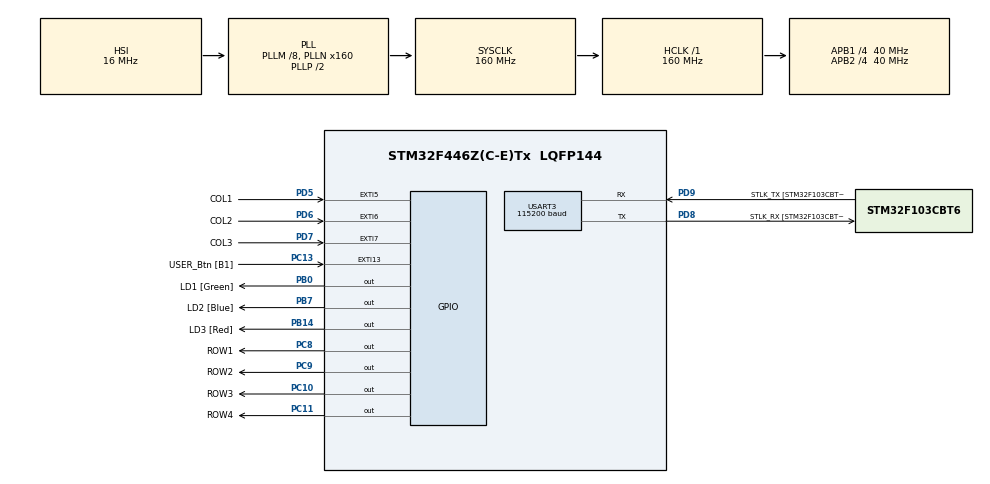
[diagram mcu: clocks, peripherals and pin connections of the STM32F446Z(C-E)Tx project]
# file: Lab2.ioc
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Mcu.Family=STM32F4
Mcu.Name=STM32F446Z(C-E)Tx
Mcu.Package=LQFP144
NVIC.EXTI15_10_IRQn=true\:0\:0\:false\:false\:true\:true\:true\:true
NVIC.EXTI9_5_IRQn=true\:0\:0\:false\:false\:true\:true\:true\:true
NVIC.PriorityGroup=NVIC_PRIORITYGROUP_4
PB0.GPIO_Label=LD1 [Green]
PB0.Signal=GPIO_Output
PB14.GPIO_Label=LD3 [Red]
PB14.Signal=GPIO_Output
PB7.GPIO_Label=LD2 [Blue]
PB7.Signal=GPIO_Output
PC10.GPIO_Label=ROW3
PC10.Signal=GPIO_Output
PC11.GPIO_Label=ROW4
PC11.Signal=GPIO_Output
PC13.GPIO_Label=USER_Btn [B1]
PC13.GPIO_ModeDefaultEXTI=GPIO_MODE_IT_RISING
PC13.Signal=GPXTI13
PC8.GPIO_Label=ROW1
PC8.Signal=GPIO_Output
PC9.GPIO_Label=ROW2
PC9.Signal=GPIO_Output
PD5.GPIO_Label=COL1
PD5.GPIO_PuPd=GPIO_PULLDOWN
PD5.Signal=GPXTI5
PD6.GPIO_Label=COL2
PD6.GPIO_PuPd=GPIO_PULLDOWN
PD6.Signal=GPXTI6
PD7.GPIO_Label=COL3
PD7.GPIO_PuPd=GPIO_PULLDOWN
PD7.Signal=GPXTI7
PD8.GPIO_Label=STLK_RX [STM32F103CBT6_PA3]
PD8.Mode=Asynchronous
PD8.Signal=USART3_TX
PD9.GPIO_Label=STLK_TX [STM32F103CBT6_PA2]
PD9.Mode=Asynchronous
PD9.Signal=USART3_RX
ProjectManager.HeapSize=0x200
ProjectManager.StackSize=0x400
ProjectManager.TargetToolchain=STM32CubeIDE
RCC.48MHZClocksFreq_Value=24000000
RCC.AHBFreq_Value=160000000
RCC.APB1CLKDivider=RCC_HCLK_DIV4
RCC.APB1Freq_Value=40000000
RCC.APB1TimFreq_Value=80000000
RCC.APB2CLKDivider=RCC_HCLK_DIV4
RCC.APB2Freq_Value=40000000
RCC.APB2TimFreq_Value=80000000
RCC.CortexFreq_Value=160000000
RCC.HCLKFreq_Value=160000000
RCC.HSE_VALUE=8000000
RCC.HSI_VALUE=16000000
RCC.PLLM=8
RCC.PLLMUL=RCC_PLL_MUL9
RCC.PLLN=160
RCC.PLLQ=7
RCC.PRESCALERUSB=RCC_USBCLKSOURCE_PLL_DIV1_5
RCC.SYSCLKFreq_VALUE=160000000
RCC.SYSCLKSource=RCC_SYSCLKSOURCE_PLLCLK
RCC.SYSCLKSourceVirtual=RCC_SYSCLKSOURCE_PLLCLK
RCC.USBFreq_Value=45714285.71428572
RCC.VCOOutputFreq_Value=320000000
USART3.BaudRate=115200
USART3.VirtualMode=VM_ASYNC
board=NUCLEO-F446ZE

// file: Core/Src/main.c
// main.c - Complete file

/* USER CODE BEGIN Header */
/**
  ******************************************************************************
  * @file           : main.c
  * @brief          : Main program body
  ******************************************************************************
  * @attention
  *
  * Copyright (c) 2026 STMicroelectronics.
  * All rights reserved.
  *
  * This software is licensed under terms that can be found in the LICENSE file
  * in the root directory of this software component.
  * If no LICENSE file comes with this software, it is provided AS-IS.
  *
  ******************************************************************************
  */
/* USER CODE END Header */
#include "main.h"

/* USER CODE BEGIN Includes */
#include <stdio.h>
#include <string.h>
/* USER CODE END Includes */

/* USER CODE BEGIN PD */

#define ROW_Port GPIOC

/* Row Pins Already Defined in main.h
#define ROW1_Pin GPIO_PIN_8
#define ROW2_Pin GPIO_PIN_9
#define ROW3_Pin GPIO_PIN_10
#define ROW4_Pin GPIO_PIN_11
*/

#define COL_Port GPIOD

/* Column Pins Already Defined in main.h
#define COL1_Pin GPIO_PIN_5
#define COL2_Pin GPIO_PIN_6
#define COL3_Pin GPIO_PIN_7
*/

/* USER CODE END PD */

UART_HandleTypeDef huart3;

void SystemClock_Config(void);
static void MX_GPIO_Init(void);
static void MX_USART3_UART_Init(void);

/* USER CODE BEGIN 0 */
void print_msg(char * msg) {
	HAL_UART_Transmit(&huart3, (uint8_t *)msg, strlen(msg), 100);
}

int8_t current_row = -1, current_col = -1;
char keypad[4][3] = {
    {'1','2','3'},
    {'4','5','6'},
    {'7','8','9'},
    {'*','0','#'}
};

// Separate variable for each column - set by interrupts
volatile uint8_t col[3] = {0, 0, 0};

// Previous state for edge detection
uint8_t prev_col[3] = {0, 0, 0};

/* USER CODE END 0 */

int main(void)
{

  /* MCU Configuration--------------------------------------------------------*/

  /* Reset of all peripherals, Initializes the Flash interface and the Systick. */
  HAL_Init();

  /* Configure the system clock */
  SystemClock_Config();

  /* Initialize all configured peripherals */
  MX_GPIO_Init();
  MX_USART3_UART_Init();
  /* USER CODE BEGIN 2 */
  HAL_GPIO_WritePin(ROW_Port, ROW1_Pin, GPIO_PIN_RESET);
  HAL_GPIO_WritePin(ROW_Port, ROW2_Pin, GPIO_PIN_RESET);
  HAL_GPIO_WritePin(ROW_Port, ROW3_Pin, GPIO_PIN_RESET);
  HAL_GPIO_WritePin(ROW_Port, ROW4_Pin, GPIO_PIN_RESET);
  /* USER CODE END 2 */

  /* Infinite loop */
  /* USER CODE BEGIN WHILE */

  // var for debouncing
  volatile uint8_t key_pressed = 0;

  while (1)
  {
	  // polls each row
	  for(int i = 0; i < 4; i++){
		  current_row = i;

		  // Set current row HIGH
		  switch(i){
		  case 0: HAL_GPIO_WritePin(ROW_Port, ROW1_Pin, GPIO_PIN_SET); break;
		  case 1: HAL_GPIO_WritePin(ROW_Port, ROW2_Pin, GPIO_PIN_SET); break;
		  case 2: HAL_GPIO_WritePin(ROW_Port, ROW3_Pin, GPIO_PIN_SET); break;
		  case 3: HAL_GPIO_WritePin(ROW_Port, ROW4_Pin, GPIO_PIN_SET); break;
		  }

		  // delay for high to saturate
		  HAL_Delay(10);

		  // Check each column variable for new key press (rising edge)
		  for(int j = 0; j < 3; j++){
			  // Check if this column just became active (rising edge detection)
			  if(col[j] && !prev_col[j]){
				  // New key press detected - this overwrites any held key
				  current_col = j;
			  }
			  // Update previous state
			  prev_col[j] = col[j];
		  }

		  // doesnt print if the key is debouncing, and saves stuff in buffer to debounce
		  if(current_col != -1 && !key_pressed){
			  char buffer[20];
		      sprintf(buffer, "Key: %c\n", keypad[current_row][current_col]);
		      print_msg(buffer);
		      key_pressed = 1;
		      HAL_Delay(200);
		      current_col = -1;
		   }

		  // resets the key for the debouncing - check if all columns are released
		   if(col[0] == 0 && col[1] == 0 && col[2] == 0) {
		       key_pressed = 0;
		   }

		   // we reset the pin that was set high
	       HAL_GPIO_WritePin(ROW_Port, ROW1_Pin, GPIO_PIN_RESET);
		   HAL_GPIO_WritePin(ROW_Port, ROW2_Pin, GPIO_PIN_RESET);
		   HAL_GPIO_WritePin(ROW_Port, ROW3_Pin, GPIO_PIN_RESET);
		   HAL_GPIO_WritePin(ROW_Port, ROW4_Pin, GPIO_PIN_RESET);

		   // Reset column flags after row goes low
		   col[0] = 0;
		   col[1] = 0;
		   col[2] = 0;
	  }
    /* USER CODE END WHILE */

  }
}

void SystemClock_Config(void)
{
  RCC_OscInitTypeDef RCC_OscInitStruct = {0};
  RCC_ClkInitTypeDef RCC_ClkInitStruct = {0};

  /** Configure the main internal regulator output voltage
  */
  __HAL_RCC_PWR_CLK_ENABLE();
  __HAL_PWR_VOLTAGESCALING_CONFIG(PWR_REGULATOR_VOLTAGE_SCALE1);

  /** Initializes the RCC Oscillators according to the specified parameters
  * in the RCC_OscInitTypeDef structure.
  */
  RCC_OscInitStruct.OscillatorType = RCC_OSCILLATORTYPE_HSI;
  RCC_OscInitStruct.HSIState = RCC_HSI_ON;
  RCC_OscInitStruct.HSICalibrationValue = RCC_HSICALIBRATION_DEFAULT;
  RCC_OscInitStruct.PLL.PLLState = RCC_PLL_ON;
  RCC_OscInitStruct.PLL.PLLSource = RCC_PLLSOURCE_HSI;
  RCC_OscInitStruct.PLL.PLLM = 8;
  RCC_OscInitStruct.PLL.PLLN = 160;
  RCC_OscInitStruct.PLL.PLLP = RCC_PLLP_DIV2;
  RCC_OscInitStruct.PLL.PLLQ = 7;
  RCC_OscInitStruct.PLL.PLLR = 2;
  if (HAL_RCC_OscConfig(&RCC_OscInitStruct) != HAL_OK)
  {
    Error_Handler();
  }

  /** Initializes the CPU, AHB and APB buses clocks
  */
  RCC_ClkInitStruct.ClockType = RCC_CLOCKTYPE_HCLK|RCC_CLOCKTYPE_SYSCLK
                              |RCC_CLOCKTYPE_PCLK1|RCC_CLOCKTYPE_PCLK2;
  RCC_ClkInitStruct.SYSCLKSource = RCC_SYSCLKSOURCE_PLLCLK;
  RCC_ClkInitStruct.AHBCLKDivider = RCC_SYSCLK_DIV1;
  RCC_ClkInitStruct.APB1CLKDivider = RCC_HCLK_DIV4;
  RCC_ClkInitStruct.APB2CLKDivider = RCC_HCLK_DIV4;

  if (HAL_RCC_ClockConfig(&RCC_ClkInitStruct, FLASH_LATENCY_5) != HAL_OK)
  {
    Error_Handler();
  }
}

static void MX_USART3_UART_Init(void)
{

  huart3.Instance = USART3;
  huart3.Init.BaudRate = 115200;
  huart3.Init.WordLength = UART_WORDLENGTH_8B;
  huart3.Init.StopBits = UART_STOPBITS_1;
  huart3.Init.Parity = UART_PARITY_NONE;
  huart3.Init.Mode = UART_MODE_TX_RX;
  huart3.Init.HwFlowCtl = UART_HWCONTROL_NONE;
  huart3.Init.OverSampling = UART_OVERSAMPLING_16;
  if (HAL_UART_Init(&huart3) != HAL_OK)
  {
    Error_Handler();
  }

}

static void MX_GPIO_Init(void)
{
  GPIO_InitTypeDef GPIO_InitStruct = {0};

  /* GPIO Ports Clock Enable */
  __HAL_RCC_GPIOC_CLK_ENABLE();
  __HAL_RCC_GPIOB_CLK_ENABLE();
  __HAL_RCC_GPIOD_CLK_ENABLE();

  /*Configure GPIO pin Output Level */
  HAL_GPIO_WritePin(GPIOB, LD1_Pin|LD3_Pin|LD2_Pin, GPIO_PIN_RESET);

  /*Configure GPIO pin Output Level */
  HAL_GPIO_WritePin(GPIOC, ROW1_Pin|ROW2_Pin|ROW3_Pin|ROW4_Pin, GPIO_PIN_RESET);

  /*Configure GPIO pin : USER_Btn_Pin */
  GPIO_InitStruct.Pin = USER_Btn_Pin;
  GPIO_InitStruct.Mode = GPIO_MODE_IT_RISING;
  GPIO_InitStruct.Pull = GPIO_NOPULL;
  HAL_GPIO_Init(USER_Btn_GPIO_Port, &GPIO_InitStruct);

  /*Configure GPIO pins : LD1_Pin LD3_Pin LD2_Pin */
  GPIO_InitStruct.Pin = LD1_Pin|LD3_Pin|LD2_Pin;
  GPIO_InitStruct.Mode = GPIO_MODE_OUTPUT_PP;
  GPIO_InitStruct.Pull = GPIO_NOPULL;
  GPIO_InitStruct.Speed = GPIO_SPEED_FREQ_LOW;
  HAL_GPIO_Init(GPIOB, &GPIO_InitStruct);

  /*Configure GPIO pins : ROW1_Pin ROW2_Pin ROW3_Pin ROW4_Pin */
  GPIO_InitStruct.Pin = ROW1_Pin|ROW2_Pin|ROW3_Pin|ROW4_Pin;
  GPIO_InitStruct.Mode = GPIO_MODE_OUTPUT_PP;
  GPIO_InitStruct.Pull = GPIO_NOPULL;
  GPIO_InitStruct.Speed = GPIO_SPEED_FREQ_LOW;
  HAL_GPIO_Init(GPIOC, &GPIO_InitStruct);

  /*Configure GPIO pins : COL1_Pin COL2_Pin COL3_Pin */
  GPIO_InitStruct.Pin = COL1_Pin|COL2_Pin|COL3_Pin;
  GPIO_InitStruct.Mode = GPIO_MODE_IT_RISING;
  GPIO_InitStruct.Pull = GPIO_PULLDOWN;
  HAL_GPIO_Init(GPIOD, &GPIO_InitStruct);

  /* EXTI interrupt init*/
  HAL_NVIC_SetPriority(EXTI9_5_IRQn, 0, 0);
  HAL_NVIC_EnableIRQ(EXTI9_5_IRQn);

  HAL_NVIC_SetPriority(EXTI15_10_IRQn, 0, 0);
  HAL_NVIC_EnableIRQ(EXTI15_10_IRQn);

}

void Error_Handler(void)
{
  __disable_irq();
  while (1)
  {
  }
}
